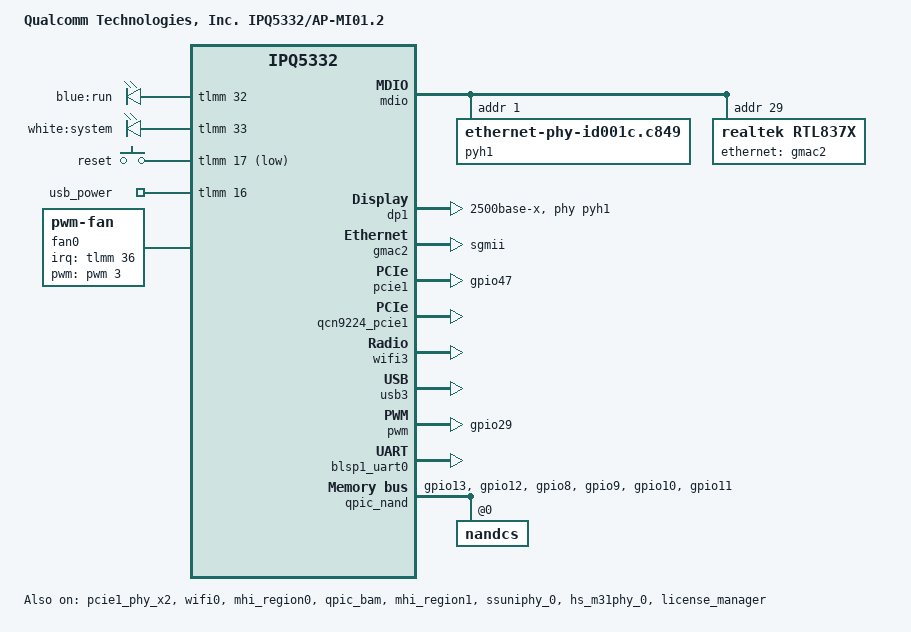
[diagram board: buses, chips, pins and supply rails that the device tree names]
// SPDX-License-Identifier: (GPL-2.0+ OR BSD-3-Clause)
/*
 * IPQ5332 AP-MI01.2 board device tree source
 *
 * Copyright (c) 2020-2021 The Linux Foundation. All rights reserved.
 * Copyright (c) 2022 Qualcomm Innovation Center, Inc. All rights reserved.
 */

/dts-v1/;

#define __RPROC_DISABLE_MPD_SUPPORT__

#include <dt-bindings/gpio/gpio.h>
#include <dt-bindings/input/input.h>
#include <dt-bindings/leds/common.h>

#include "ipq5332.dtsi"
#include "ipq5332-default-memory.dtsi"



/ {
	model = "Qualcomm Technologies, Inc. IPQ5332/AP-MI01.2";
	compatible = "glinet,gl-be6500", "qcom,ipq5332-ap-mi01.2", "qcom,ipq5332";
	interrupt-parent = <&intc>;

	aliases {
		serial0 = &blsp1_uart0;
		/*serial1 = &blsp1_uart1;*/
		ethernet0 = "/soc/dp1";
		ethernet1 = "/soc/dp2";  /* GMAC2 connected to RTL8372N */
	};

	chosen {
		stdout-path = "serial0";
	};



	/delete-node/ gpio_keys;

	soc@0 {
		mdio:mdio@90000 {
			status = "okay";
			pinctrl-0 = <&mdio1_pins>;
			pinctrl-names = "default";
			phy-reset-gpio = <&tlmm 51 GPIO_ACTIVE_LOW
					  &tlmm 24 GPIO_ACTIVE_LOW>;
			mdio_clk_fixup; /* MDIO clock sequence fix up flag */

			pyh1:ethernet-phy@0 {
				compatible = "ethernet-phy-id001c.c849";
				reg = <1>;
			};

			rtl837x: rtl837x-gsw@29 {
				compatible = "realtek,rtl837x";
				#address-cells = <1>;
				#size-cells = <1>;
				reg = <29>;
				//realtek,reset-done-by-mdio;
				rtl837x,cpu-port = <0>;
				rtl837x,sds0mode = "10g-kr";
				ethernet = <&gmac2>;
				gpio-controller;
				#gpio-cells = <2>;

				sds0-rx-swap; // optional
				sds0-tx-swap; // optional
				sds1-rx-swap; // optional
				sds1-tx-swap; // optional
			};
		};

		leds {
			compatible = "gpio-leds";
			pinctrl-0 = <&leds_pins>;
			pinctrl-names = "default";
			status = "okay";

			led@32 {
				label = "blue:run";
				gpios = <&tlmm 32 GPIO_ACTIVE_HIGH>;
				default-state = "on";
			};

			led@33 {
				label = "white:system";
				gpios = <&tlmm 33 GPIO_ACTIVE_HIGH>;
				default-state = "off";
			};
		};

		gpio_keys {
			compatible = "gpio-keys";
			pinctrl-0 = <&button_pins>;
			pinctrl-names = "default";
			status = "okay";

			reset {
				label = "reset";
				linux,code = <KEY_RESTART>;
				gpios = <&tlmm 17 GPIO_ACTIVE_LOW>;
				linux,input-type = <1>;
			};
		};

		dp1 {
			device_type = "network";
			compatible = "qcom,nss-dp";
			qcom,id = <2>;
			reg = <0x3a504000 0x4000>;
			qcom,mactype = <1>;
			local-mac-address = [000000000000];
			mdio-bus = <&mdio>;
			qcom,phy-mdio-addr = <1>;
			qcom,link-poll = <1>;
			phy-mode = "2500base-x";
			phy-handle = <&pyh1>;
		};

		gmac2:dp2 {
			device_type = "network";
			compatible = "qcom,nss-dp";
			qcom,id = <1>;
			reg = <0x3a500000 0x4000>;
			qcom,mactype = <1>;
			local-mac-address = [000000000000];
			phy-mode = "sgmii";
			qcom,ppe-offload-disabled = <1>;
			qcom,mht-dev = <1>;
			qcom,is_switch_connected = <1>;
		};

		ess-instance {
			num_devices = <0x1>;
			ess-switch@3a000000 {
				switch_cpu_bmp = <0x1>;  /* cpu port bitmap */
				switch_lan_bmp = <0x2>; /* lan port bitmap */
				switch_wan_bmp = <0x4>; /* wan port bitmap */
				switch_mac_mode = <0xe>; /* mac mode for uniphy instance0*/
				switch_mac_mode1 = <0xc>; /* SGMII+ for RTL8221B/NAPA 2.5G PHY */
				switch_mac_mode2 = <0xff>; /* mac mode for uniphy instance2*/
				qcom,port_phyinfo {
					port@0 {
						port_id = <1>;
						forced-speed = <10000>;
						forced-duplex = <1>;
					};
					port@1 {
						port_id = <2>;
						phy_address = <1>;
						forced-speed = <2500>;
						forced-duplex = <1>;
					};
				};
			};
		};

		/* EDMA host driver configuration for the board */
		edma@3ab00000 {
			qcom,txdesc-ring-start = <4>;		/* Tx desc ring start ID */
			qcom,txdesc-rings = <12>;		/* Total number of Tx desc rings to be provisioned */
			qcom,mht-txdesc-rings = <8>;            /* Extra Tx desc rings to be provisioned for MHT SW ports */
			qcom,txcmpl-ring-start = <4>;		/* Tx complete ring start ID */
			qcom,txcmpl-rings = <12>;		/* Total number of Tx complete rings to be provisioned */
			qcom,mht-txcmpl-rings = <8>;            /* Extra Tx complete rings to be provisioned for mht sw ports. */
			qcom,rxfill-ring-start = <4>;		/* Rx fill ring start ID */
			qcom,rxfill-rings = <4>;		/* Total number of Rx fill rings to be provisioned */
			qcom,rxdesc-ring-start = <12>;		/* Rx desc ring start ID */
			qcom,rxdesc-rings = <4>;		/* Total number of Rx desc rings to be provisioned */
			qcom,rx-page-mode = <0>;		/* Rx fill ring page mode */
			qcom,tx-map-priority-level = <1>;	/* Tx priority level per port */
			qcom,rx-map-priority-level = <1>;	/* Rx priority level per core */
			qcom,ppeds-num = <2>;			/* Number of PPEDS nodes */
			/* PPE-DS node format: <Rx-fill Tx-cmpl Rx Tx Queue-base Queue-count> */
			qcom,ppeds-map = <1 1 1 1 32 8>,	/* PPEDS Node#0 ring and queue map */
					<2 2 2 2 40 8>;		/* PPEDS Node#1 ring and queue map */
			qcom,txdesc-map = <8 9 10 11>,		/* Port0 per-core Tx ring map */
					<12 13 14 15>,        /* MHT-Port1 per-core Tx ring map */
					<4 5 6 7>,            /* MHT-Port2 per-core Tx ring map/packets from  vp*/
					<16 17 18 19>,        /* MHT-Port3 per-core Tx ring map */
					<20 21 22 23>;        /* MHT-Port4 per-core Tx ring map */
			qcom,txdesc-fc-grp-map = <1 2 3 4 5>;   /* Per GMAC flow control group map */
			qcom,rxfill-map = <4 5 6 7>;		/* Per-core Rx fill ring map */
			qcom,rxdesc-map = <12 13 14 15>;	/* Per-core Rx desc ring map */
			qcom,rx-queue-start = <0>;		/* Rx queue start */
			qcom,rx-ring-queue-map = <0 8 16 24>,	/* Priority 0 queues per-core Rx ring map */
						<1 9 17 25>,	/* Priority 1 queues per-core Rx ring map */
						<2 10 18 26>,	/* Priority 2 queues per-core Rx ring map */
						<3 11 19 27>,	/* Priority 3 queues per-core Rx ring map */
						<4 12 20 28>,	/* Priority 4 queues per-core Rx ring map */
						<5 13 21 29>,	/* Priority 5 queues per-core Rx ring map */
						<6 14 22 30>,	/* Priority 6 queues per-core Rx ring map */
						<7 15 23 31>;	/* Priority 7 queues per-core Rx ring map */
			interrupts = <0 163 4>,			/* Tx complete ring id #4 IRQ info */
				   <0 164 4>,			/* Tx complete ring id #5 IRQ info */
				   <0 165 4>,			/* Tx complete ring id #6 IRQ info */
				   <0 166 4>,			/* Tx complete ring id #7 IRQ info */
				   <0 167 4>,			/* Tx complete ring id #8 IRQ info */
				   <0 168 4>,			/* Tx complete ring id #9 IRQ info */
				   <0 169 4>,			/* Tx complete ring id #10 IRQ info */
				   <0 170 4>,			/* Tx complete ring id #11 IRQ info */
				   <0 171 4>,			/* Tx complete ring id #12 IRQ info */
				   <0 172 4>,			/* Tx complete ring id #13 IRQ info */
				   <0 173 4>,			/* Tx complete ring id #14 IRQ info */
				   <0 174 4>,			/* Tx complete ring id #15 IRQ info */
				   <0 139 4>,			/* Rx desc ring id #12 IRQ info */
				   <0 140 4>,			/* Rx desc ring id #13 IRQ info */
				   <0 141 4>,			/* Rx desc ring id #14 IRQ info */
				   <0 142 4>,			/* Rx desc ring id #15 IRQ info */
				   <0 191 4>,			/* Misc error IRQ info */
				<0 160 4>,			/* PPEDS Node #1(TxComp ring id #1) TxComplete IRQ info */
				<0 128 4>,			/* PPEDS Node #1(Rx Desc ring id #1) Rx Desc IRQ info */
				<0 152 4>,			/* PPEDS Node #1(RxFill Desc ring id #1) Rx Fill IRQ info */
				<0 161 4>,			/* PPEDS Node #2(TxComp ring id #2) TxComplete IRQ info */
				<0 129 4>,			/* PPEDS Node #2(Rx Desc ring id #2) Rx Desc IRQ info */
				<0 153 4>,                      /* PPEDS Node #2(RxFill Desc ring id #2) Rx Fill IRQ info */
				<0 175 4>,                   /* MHT port Tx complete ring id #16 IRQ info */
				<0 176 4>,                   /* MHT port Tx complete ring id #17 IRQ info */
				<0 177 4>,                   /* MHT port Tx complete ring id #18 IRQ info */
				<0 178 4>,                   /* MHT port Tx complete ring id #19 IRQ info */
				<0 179 4>,                   /* MHT port Tx complete ring id #20 IRQ info */
				<0 180 4>,                   /* MHT port Tx complete ring id #21 IRQ info */
				<0 181 4>,                   /* MHT port Tx complete ring id #22 IRQ info */
				<0 182 4>;                   /* MHT port Tx complete ring id #23 IRQ info */
		};

		wsi: wsi {
			id = <0>;
			num_chip = <2>;
			status = "okay";
			chip_info = <0 1 1>,
				    <1 1 0>;
		};

		gpio-export {
			compatible = "gpio-export";
			pinctrl-0 = <&usb_pins>;
			pinctrl-names = "default";

			usb_power {
				gpio-export,name = "usb_power";
				gpio-export,output = <1>;
				gpios = <&tlmm 16 GPIO_ACTIVE_HIGH>;
			};
		};

		fan0: pwm-fan {
			compatible = "pwm-fan";
			pinctrl-0 = <&fan_pins>;
			pinctrl-names = "default";
			cooling-min-state = <0>;
			cooling-max-state = <255>;
			#cooling-cells = <2>;
			pwms = <&pwm 3 40000 0>;
			interrupt-parent = <&tlmm>;
			interrupts = <36 IRQ_TYPE_EDGE_RISING>;
			cooling-levels = <0 36 36 36 36 36 36 36 36 36 36 36 36 36 36 36 36 36 36 36
					36 36 36 36 36 36 36 36 36 36 36 36 36 36 36 36 36 37 38 39
					40 41 42 43 44 45 46 47 48 49 50 51 52 53 54 55 56 57 58 59
					60 61 62 63 64 65 66 67 68 69 70 71 72 73 74 75 76 77 78 79
					80 81 82 83 84 85 86 87 88 89 90 91 92 93 94 95 96 97 98 99
					100 101 102 103 104 105 106 107 108 109 110 111 112 113 114 115 116 117 118 119
					120 121 122 123 124 125 126 127 128 129 130 131 132 133 134 135 136 137 138 139
					140 141 142 143 144 145 146 147 148 149 150 151 152 153 154 155 156 157 158 159
					160 161 162 163 164 165 166 167 168 169 170 171 172 173 174 175 176 177 178 179
					180 181 182 183 184 185 186 187 188 189 190 191 192 193 194 195 196 197 198 199
					200 201 202 203 204 205 206 207 208 209 210 211 212 213 214 215 216 217 218 219
					220 221 222 223 224 225 226 227 228 229 230 231 232 233 234 235 236 237 238 239
					240 241 242 243 244 245 246 247 248 249 250 251 252 253 254 255>;
		};
	};
};

&pcie0{
	status = "disabled";
};


&pcie1 {
	pinctrl-0 = <&pcie1_default_state>;
	pinctrl-names = "default";
	perst-gpios = <&tlmm 47 GPIO_ACTIVE_LOW>;
	status = "okay";

	pcie1_rp {
		reg = <0 0 0 0 0>;

		qcom,mhi@1 {
			reg = <0 0 0 0 0>;
			boot-args = <0x2 0x4 0x34 0x3 0x0 0x0     /* MX Rail, GPIO52, Drive strength 0x3 */
					0x4 0x4 0x18 0x3 0x0 0x0  /* RFA1p2 Rail, GPIO24, Drive strength 0x3 */
					0x0 0x4 0x0 0x0 0x0 0x0>; /* End of arguments */
			qti,disable-rddm-prealloc;
			qti,rddm-seg-len = <0x1000>;
			memory-region = <&qcn9224_pcie1>, <&mhi_region1>, <&mlo_global_mem0>;
			memory-region-names = "host-ddr-mem", "mhi-region", "mlo-global-mem";
			qcom,board_id = <0x15>;
			qcom,wsi = <&wsi>;
			qcom,wsi_index = <1>;
			qcom,early_cal_enabled = "supported";
			qcom,caldata_offset = <0x58800>;

			ports {
				#address-cells = <1>;
				#size-cells = <0>;

				port@0 {
					reg = <0>;

					wifi1_wsi_tx: endpoint {
						remote-endpoint = <&wifi0_wsi_rx>;
					};
				};

				port@1 {
					reg = <1>;

					wifi1_wsi_rx: endpoint {
						remote-endpoint = <&wifi0_wsi_tx>;
					};
				};
			};
		};
	};
};

&pcie1_phy_x2 {
	status = "okay";
};

&wifi0 {
	led-gpio = <&tlmm 36 GPIO_ACTIVE_HIGH>;
	qcom,rproc = <&q6v5_wcss>;
	dump-region = <&q6_ipq5332_data>,<&m3_dump>,<&q6_etr_region>,<&q6_caldb_region>;
	qcom,userpd-subsys-name = "q6v5_wcss_userpd1";
	memory-region = <&q6_region>, <&q6_region>, <&q6_ipq5332_data>, <&m3_dump>,
			<&mlo_global_mem0>,<&q6_etr_region>;
	memory-region-names = "q6-region", "q6region-1", "host-ddr-mem", "m3-dump",
			      "mlo-global-mem", "q6-etr-dump";
	qcom,wsi = <&wsi>;
	qcom,wsi_index = <0>;
	qcom,board_id = <0x12>;
	status = "okay";

	qcom,wsi-controller;
	ports {
		#address-cells = <1>;
		#size-cells = <0>;

		port@0 {
			reg = <0>;

			wifi0_wsi_tx: endpoint {
				remote-endpoint = <&wifi1_wsi_rx>;
			};
		};

		port@1 {
			reg = <1>;

			wifi0_wsi_rx: endpoint {
				remote-endpoint = <&wifi1_wsi_tx>;
			};
		};
	};
};

&qcn9224_pcie0 {
	status = "disabled";
};

&qcn9224_pcie1 {
	status = "okay";
};

&mhi_region0 {
	status = "okay";
};

&qpic_bam {
	status = "okay";
};

&mhi_region1 {
	status = "okay";
};

&wifi1 {
	/* QCN9224 radio disable at cmdline */
	hremote_node = <&qcn9224_pcie0>;
	board_id = <0x15>;
	status = "disabled";
};

&wifi3 {
	/* QCN9224 radio 5G */
	hremote_node = <&qcn9224_pcie1>;
	board_id = <0x15>;
	status = "okay";
};

&usb3 {
	qcom,select-utmi-as-pipe-clk;
	status = "okay";
	qcom,multiplexed-phy;

	dwc3@8a00000 {
		/delete-property/ #phy-cells;
		/delete-property/ phys;
		/delete-property/ phy-names;
	};
};

&ssuniphy_0 {
	status = "okay";
};

&hs_m31phy_0 {
	status = "okay";
};

&pwm {
	#pwm-cells = <2>;
	pinctrl-0 = <&pwm_pins>;
	pinctrl-names = "default";
	used-pwm-indices = <0>, <0>, <0>, <1>;
	status = "okay";
};

&blsp1_uart0 {
	pinctrl-0 = <&serial_0_pins>;
	pinctrl-names = "default";
	status = "okay";
};

&tlmm  {
	leds_pins: leds_pinmux {
		led_blue {
			pins = "gpio32";
			function = "gpio";
			drive-strength = <8>;
			bias-pull-down;
		};

		led_white {
			pins = "gpio33";
			function = "gpio";
			drive-strength = <8>;
			bias-pull-down;
		};
	};

	button_pins: button_pins {
		reset_button {
			pins = "gpio17";
			function = "gpio";
			drive-strength = <8>;
			bias-pull-up;
		};
	};

	pwm_pins: pwm_pinmux {
		pwm1 {
			pins = "gpio29";
			function = "pwm1";
			drive-strength = <8>;
		};
	};

	fan_pins: fan_pins {
		pwr {
			pins = "gpio34";
			function = "gpio";
			bias-pull-up;
			output-high;
		};
		speed {
			pins = "gpio36";
			function = "gpio";
			drive-strength = <8>;
			bias-pull-down;
		};
	};

	pcie1_wake_pins: pcie1-wake-pinmux {
		pins = "gpio48";
		function = "pcie1_wake";
		drive-strength = <8>;
		bias-pull-up;
	};

	usb_pins: usb_pins {
		usb_pwr {
			pins = "gpio16";
			function = "gpio";
			bias-pull-up;
			output-high;
		};
	};

	pcie1_default_state: pcie1-default-state {
		pins = "gpio47";
		function = "gpio";
		drive-strength = <8>;
		bias-pull-up;
		output-low;
	};

	qspi_default_state: qspi-default-state {
		qspi_clock {
			pins = "gpio13";
			function = "qspi_clk";
			drive-strength = <8>;
			bias-pull-down;
		};

		qspi_cs {
			pins = "gpio12";
			function = "qspi_cs";
			drive-strength = <8>;
			bias-pull-up;
		};

		qspi_data {
			pins = "gpio8", "gpio9", "gpio10", "gpio11";
			function = "qspi_data";
			drive-strength = <8>;
			bias-pull-down;
		};
	};
};

&sleep_clk {
	clock-frequency = <32000>;
};

&xo {
	clock-frequency = <24000000>;
};

&qpic_nand {
	pinctrl-0 = <&qspi_default_state>;
	pinctrl-names = "default";
	status = "okay";

	nandcs@0 {
		reg = <0>;
		#address-cells = <1>;
		#size-cells = <1>;

		nand-ecc-strength = <8>;
		nand-ecc-step-size = <512>;
		nand-bus-width = <8>;
	};
};

&license_manager {
	status = "okay";
};
